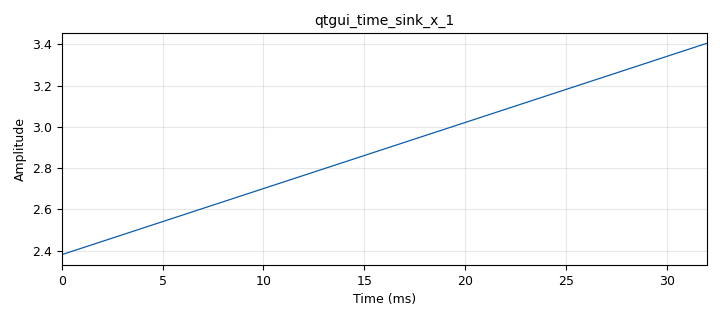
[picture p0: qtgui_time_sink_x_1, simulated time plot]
options:
  parameters:
    generate_options: qt_gui
    id: untitled
    output_language: python
    title: Not titled yet
  states: {}

blocks:
- name: samp_rate
  id: variable
  parameters:
    value: '32000'
  states: {}
- name: blocks_throttle2_0_0
  id: blocks_throttle2
  parameters:
    samples_per_second: samp_rate
    type: float
  states: {}
- name: blocks_vector_source_x_0
  id: blocks_vector_source_x
  parameters:
    repeat: 'True'
    type: float
    vector: (0.001, 0.001,0.001, 0.001,)
  states: {}
- name: epy_block_1_0
  id: epy_block
  parameters:
    _source_code: "import numpy as np\nfrom gnuradio import gr\n\nclass blk(gr.sync_block):\n    def __init__(self):\n        gr.sync_block.__init__(\n            self,\n            name='e_Acum',       # Comillas simples estándar de Python\n            in_sig=[np.float32],\n            out_sig=[np.float32]\n        )\n\n    def work(self, input_items, output_items):\n        x = input_items[0]       # Señal de entrada\n        y0 = output_items[0]     # Señal de salida asignada\n        \n        # Lógica del acumulador utilizando la función de NumPy\n        y0[:] = np.cumsum(x)\n        \n        return len(y0)           # Retorna la longitud del vector de salida corregido\n\n"
  states: {}
- name: qtgui_time_sink_x_1
  id: qtgui_time_sink_x
  parameters:
    autoscale: 'True'
    size: '1024'
    srate: samp_rate
    type: float
  states: {}

connections:
- [blocks_throttle2_0_0, '0', qtgui_time_sink_x_1, '0']
- [blocks_vector_source_x_0, '0', epy_block_1_0, '0']
- [epy_block_1_0, '0', blocks_throttle2_0_0, '0']

metadata:
  file_format: 1
  grc_version: 3.10.9.2
